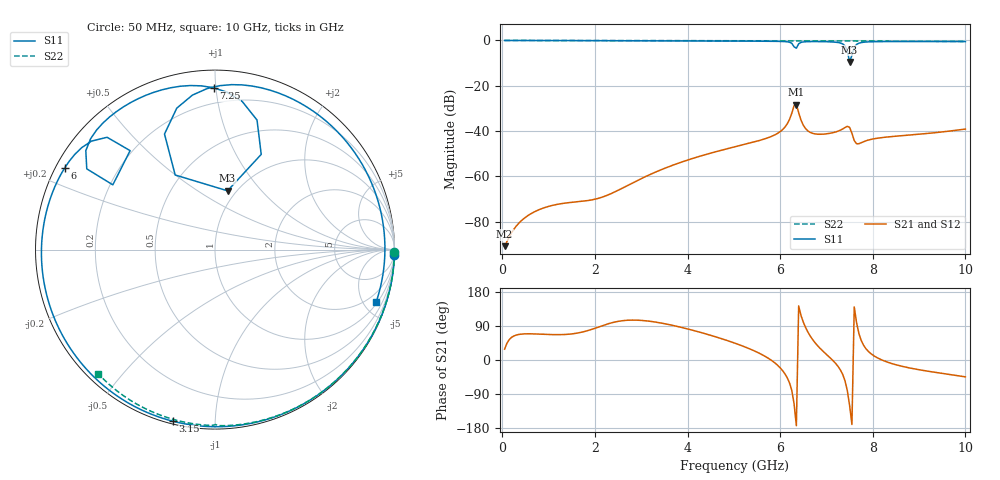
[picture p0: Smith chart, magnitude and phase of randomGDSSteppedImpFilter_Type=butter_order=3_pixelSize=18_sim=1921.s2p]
! freq	dB(S11)	phase(S11)	dB(S12)	phase(S12)
!  dB(S21)	phase(S21)	dB(S22)	phase(S22)
!S-par simulation data
#  GHz  S  DB  R 50
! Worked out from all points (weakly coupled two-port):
!   200 points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, 50 MHz to 10 GHz, reference 50 ohm
!   highest |S21| = -28.27 dB at 6.35 GHz (marker M1); lowest = -90.8 dB at 50 MHz (marker M2)
!   lowest |S11| = -9.5 dB at 7.5 GHz (marker M3), VSWR 2.01, Z = 45.6 + j33.7 ohm
!   |S11| at or under -10 dB: nowhere
!   |S22| runs from -0.5 to 0.0 dB; largest |S21 - S12| = 0
!   S11 on the Smith chart (normalised r, x): 50 MHz: 0, -68; 3.15 GHz: 0.01, -0.78; 6 GHz: 0.03, +0.26; 7.25 GHz: 0.10, +0.99; 10 GHz: 1.11, -6.05
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0.05  -0.00 -1.7  -90.81 28.6  -90.81 28.6  -0.00 -0.8
1.75  -0.07 -58.3  -70.94 74.4  -70.94 74.4  -0.03 -26.6
3.15  -0.14 -103.9  -59.54 102.8  -59.54 102.8  -0.06 -47.1
3.4  -0.15 -112.0  -57.32 98.2  -57.32 98.2  -0.07 -50.6
5.05  -0.26 -169.0  -46.81 43.2  -46.81 43.2  -0.11 -73.2
6  -0.42 151.3  -40.25 -20.6  -40.25 -20.6  -0.15 -85.6
6.25  -1.23 133.8  -32.23 -79.5  -32.23 -79.5  -0.18 -88.9
6.3  -2.78 130.6  -28.82 -115.0  -28.82 -115.0  -0.21 -89.5
6.35  -3.43 147.6  -28.27 -173.5  -28.27 -173.5  -0.22 -89.9
6.4  -1.47 147.8  -31.88 142.8  -31.88 142.8  -0.19 -90.4
6.5  -0.64 138.3  -37.42 99.8  -37.42 99.8  -0.18 -91.7
6.7  -0.49 125.6  -41.00 54.1  -41.00 54.1  -0.18 -94.2
7.25  -0.90 90.5  -40.05 -16.9  -40.05 -16.9  -0.21 -101.0
7.35  -1.53 79.6  -39.08 -37.9  -39.08 -37.9  -0.22 -102.2
7.45  -4.59 64.1  -37.91 -80.4  -37.91 -80.4  -0.22 -103.5
7.5  -9.50 78.0  -38.37 -120.1  -38.37 -120.1  -0.23 -104.1
7.55  -6.54 118.1  -40.99 -170.2  -40.99 -170.2  -0.24 -104.7
7.6  -3.07 113.6  -44.18 140.1  -44.18 140.1  -0.24 -105.3
7.75  -0.93 92.8  -45.14 51.7  -45.14 51.7  -0.25 -107.0
8.35  -0.48 54.5  -42.54 -7.0  -42.54 -7.0  -0.29 -114.1
9.15  -0.47 16.3  -41.14 -28.8  -41.14 -28.8  -0.36 -123.5
10  -0.50 -18.2  -39.12 -44.5  -39.12 -44.5  -0.45 -133.3
